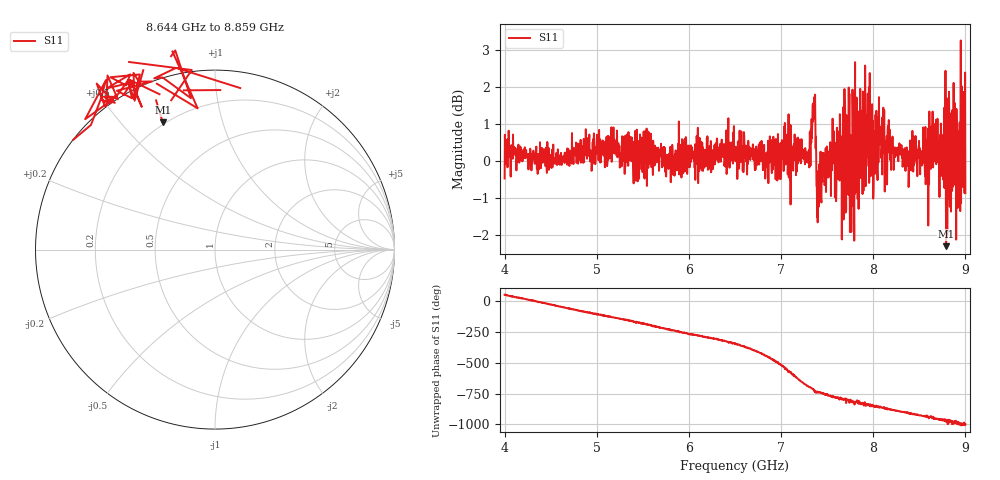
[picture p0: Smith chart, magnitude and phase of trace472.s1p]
! Created with skrf 1.8.0 (http://scikit-rf.org).
# Hz S RI R 50.0
!freq ReS11 ImS11
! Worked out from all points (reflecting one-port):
!   1601 points, 4 GHz to 9 GHz, reference 50 ohm
!   lowest |S11| = -2.3 dB at 8.791 GHz (marker M1), VSWR 7.58, Z = 9.48 + j32.7 ohm
!   phase of S11 starts at 51 deg and turns -1051 deg over the sweep
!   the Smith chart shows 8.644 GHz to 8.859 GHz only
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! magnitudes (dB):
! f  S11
! 4 GHz  -0.5
! 4.028 GHz  -0.1
! 4.625 GHz  0.0
! 5.25 GHz  -0.2
! 5.875 GHz  0.1
! 6.5 GHz  0.0
! 7.125 GHz  0.0
! 7.294 GHz  -0.1
! 7.347 GHz  1.1
! 7.412 GHz  -0.1
! 7.481 GHz  -0.4
! 7.556 GHz  0.1
! 7.609 GHz  -0.5
! 7.672 GHz  1.4
! 7.75 GHz  -1.0
! 7.769 GHz  0.0
! 7.8 GHz  -0.9
! 7.928 GHz  1.0
! 7.991 GHz  0.1
! 8.088 GHz  0.1
! 8.375 GHz  0.1
! 8.541 GHz  0.9
! 8.581 GHz  -0.1
! 8.634 GHz  0.9
! 8.791 GHz  -2.3
! 8.919 GHz  -0.3
! 8.972 GHz  0.4
! 9 GHz  -0.9
